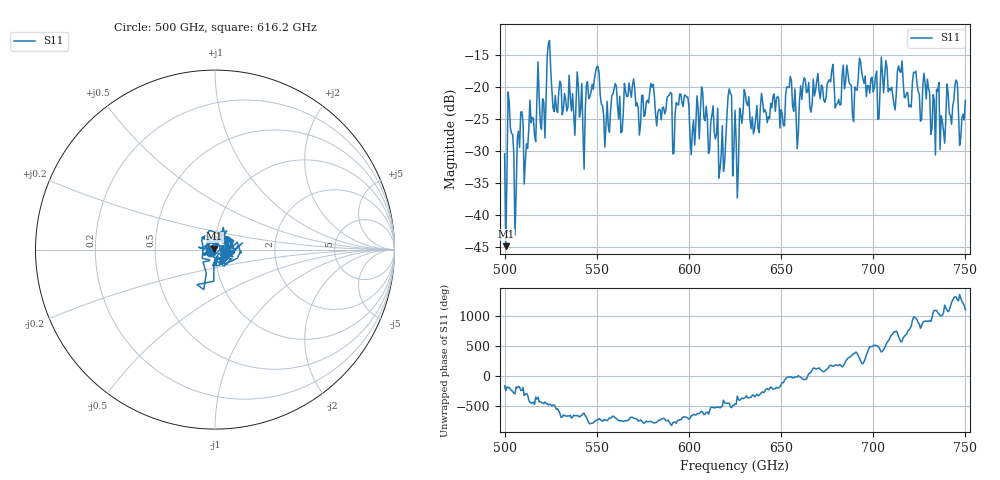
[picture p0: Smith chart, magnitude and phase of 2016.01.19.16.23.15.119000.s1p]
!Created with skrf (http://scikit-rf.org).
# GHz S RI R 50.0
!freq ReS11 ImS11
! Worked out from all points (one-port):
!   401 points, 500 GHz to 750 GHz, reference 50 ohm
!   lowest |S11| = -44.8 dB at 500.6 GHz (marker M1), VSWR 1.01, Z = 49.7 + j0.483 ohm
!   |S11| at or under -10 dB: start of sweep to end of sweep
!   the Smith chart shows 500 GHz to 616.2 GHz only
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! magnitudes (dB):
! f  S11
! 500 GHz  -30.4
! 500.6 GHz  -44.8
! 503.1 GHz  -26.3
! 505.6 GHz  -43.1
! 508.8 GHz  -23.9
! 511.9 GHz  -28.9
! 520.6 GHz  -21.8
! 524.4 GHz  -12.7
! 527.5 GHz  -21.3
! 531.2 GHz  -24.3
! 541.9 GHz  -19.4
! 550 GHz  -16.8
! 553.8 GHz  -24.4
! 562.5 GHz  -21.4
! 593.8 GHz  -22.7
! 601.9 GHz  -26.8
! 608.1 GHz  -24.8
! 617.5 GHz  -30.7
! 621.9 GHz  -20.3
! 625 GHz  -23.6
! 631.2 GHz  -22.5
! 656.2 GHz  -23.0
! 687.5 GHz  -19.6
! 714.4 GHz  -17.6
! 718.8 GHz  -20.8
! 728.8 GHz  -21.8
! 737.5 GHz  -25.4
! 750 GHz  -22.1
